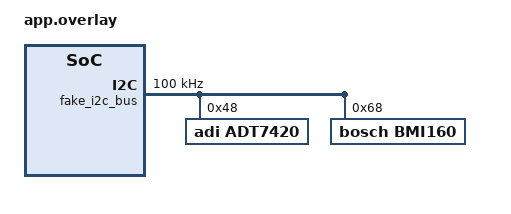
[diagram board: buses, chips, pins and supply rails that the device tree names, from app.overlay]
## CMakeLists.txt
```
cmake_minimum_required(VERSION 3.20.0)

find_package(Zephyr REQUIRED HINTS $ENV{ZEPHYR_BASE})
project(sensor_two_impl)

target_sources(app PRIVATE src/main.c)
```

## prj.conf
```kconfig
# Two existing sensor impls on one emulated I2C bus: the driver-class
# dispatch the analysis resolves per thread.
CONFIG_I2C=y
CONFIG_SENSOR=y
CONFIG_EMUL=y
CONFIG_ADT7420=y
CONFIG_BMI160=y
CONFIG_BMI160_TRIGGER_NONE=y
CONFIG_EMUL_BMI160=y
CONFIG_THREAD_STACK_INFO=y
CONFIG_STD_C23=y
CONFIG_GNU_C_EXTENSIONS=y
```

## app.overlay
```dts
/*
 * Copyright (c) 2026 JP Hutchins
 * SPDX-License-Identifier: MIT
 *
 * qemu_cortex_m3 has no I2C controller; the emulated controller hosts
 * both sensors so the drivers run unchanged against software.
 */

#include <zephyr/dt-bindings/i2c/i2c.h>

/ {
	fake_i2c_bus: i2c@100 {
		status = "okay";
		compatible = "zephyr,i2c-emul-controller";
		clock-frequency = <I2C_BITRATE_STANDARD>;
		#address-cells = <1>;
		#size-cells = <0>;
		reg = <0x100 4>;

		adt7420: adt7420@48 {
			compatible = "adi,adt7420";
			reg = <0x48>;
			status = "okay";
		};

		bmi160: bmi160@68 {
			compatible = "bosch,bmi160";
			reg = <0x68>;
			status = "okay";
		};
	};
};
```

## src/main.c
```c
/*
 * Copyright (c) 2026 JP Hutchins
 * SPDX-License-Identifier: MIT
 *
 * Two identical threads, each bound to a different existing sensor
 * driver: the ADT7420 temperature sensor and the BMI160 IMU. Both
 * dispatches go through the shared ``sensor`` device class, so the
 * analysis must resolve each thread's ``dev->api`` calls to its own
 * driver to get either thread's stack right.
 */

#include <zephyr/device.h>
#include <zephyr/devicetree.h>
#include <zephyr/drivers/sensor.h>
#include <zephyr/kernel.h>

static struct sensor_value temperature_reading;
static struct sensor_value acceleration_reading[3];

void thermal_thread(
	[[maybe_unused]] void * const unused1,
	[[maybe_unused]] void * const unused2,
	[[maybe_unused]] void * const unused3
) {
	struct device const * const thermometer = DEVICE_DT_GET(DT_NODELABEL(adt7420));

	while (true) {
		sensor_sample_fetch(thermometer);
		sensor_channel_get(thermometer, SENSOR_CHAN_AMBIENT_TEMP, &temperature_reading);
	}
}

void motion_thread(
	[[maybe_unused]] void * const unused1,
	[[maybe_unused]] void * const unused2,
	[[maybe_unused]] void * const unused3
) {
	struct device const * const imu = DEVICE_DT_GET(DT_NODELABEL(bmi160));

	while (true) {
		sensor_sample_fetch(imu);
		sensor_channel_get(imu, SENSOR_CHAN_ACCEL_XYZ, acceleration_reading);
	}
}

K_THREAD_DEFINE(thermal_tid, 1024, thermal_thread, nullptr, nullptr, nullptr, 5, 0, 0);
K_THREAD_DEFINE(motion_tid, 1024, motion_thread, nullptr, nullptr, nullptr, 5, 0, 0);

int main(void) {
	return 0;
}
```
